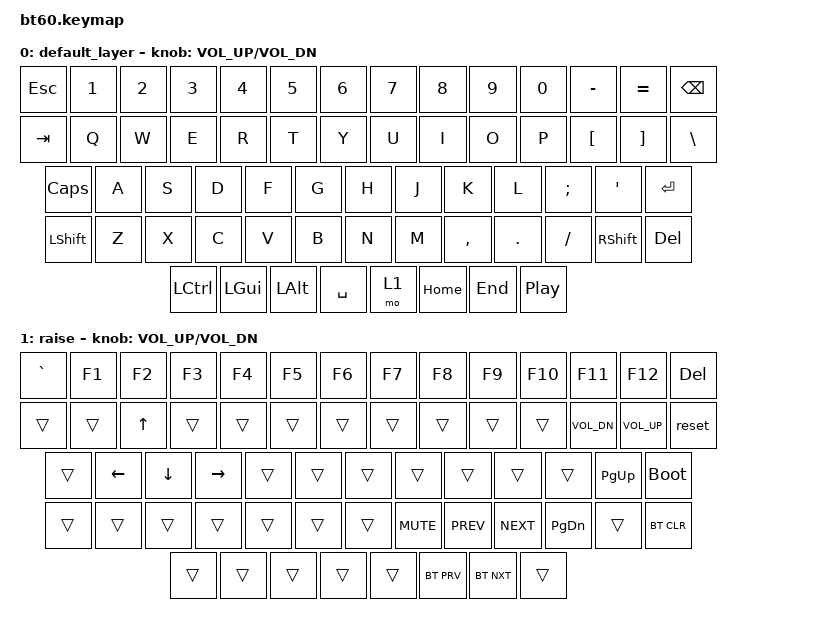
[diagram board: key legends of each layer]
#include <behaviors.dtsi>
#include <dt-bindings/zmk/keys.h>
#include <dt-bindings/zmk/bt.h>

/ {
	keymap {
		compatible = "zmk,keymap";

		default_layer {
				// ------------------------------------------------------------------------------------------
				// | ESC |  1  |  2  |  3  |  4  |  5  |  6  |  7  |  8  |  9  |  0  |  -  |  =  |   BKSP   |
				// | TAB  |  Q  |  W  |  E  |  R  |  T  |  Y  |  U  |  I  |  O  |  P  |  [  |  ]  |   |    |
				// | CAPS  |  A  |  S  |  D  |  F  |  G  |  H  |  J  |  K  |  L  |  ;  |  '  |     ENTER    |
				// |  SHIFT    |  Z  |  X  |  C  |  V  |  B  |  N  |  M  |  ,  |  .  | /   |      SHIFT     |
				// |  CTL  |  WIN  |  ALT  |            SPACE               | ALT | 1    |  MENU    |  CTRL    |
				// ------------------------------------------------------------------------------------------
			bindings = <
				&kp ESC &kp N1 &kp N2 &kp N3 &kp N4 &kp N5 &kp N6 &kp N7 &kp  N8   &kp  N9 &kp  N0  &kp MINUS &kp EQUAL &kp BSPC
				&kp TAB  &kp Q  &kp W  &kp E  &kp R  &kp T  &kp Y  &kp U  &kp  I    &kp  O  &kp  P   &kp LBKT &kp RBKT  &kp BSLH
				&kp CLCK  &kp A  &kp S  &kp D  &kp F  &kp G  &kp H  &kp J  &kp  K    &kp  L  &kp SEMI &kp SQT           &kp RET
				&kp LSHFT  &kp Z  &kp X  &kp C  &kp V  &kp B  &kp N  &kp M  &kp COMMA &kp DOT &kp FSLH      &kp RSHFT      &kp DEL
				&kp LCTRL &kp LGUI &kp LALT            &kp SPACE                          &mo 1  &kp HOME &kp END &kp C_PLAY_PAUSE
			>;
			sensor-bindings = <&inc_dec_kp C_VOL_UP C_VOL_DN>;
		};
		raise {
			bindings = <
				&kp GRAVE &kp F1 &kp F2 &kp F3 &kp F4 &kp F5 &kp F6 &kp F7 &kp  F8   &kp  F9 &kp  F10  &kp F11 &kp F12   &kp DEL
				&trans &trans        &kp UP &trans &trans &trans &trans &trans &trans &trans &trans &kp C_VOL_DN       &kp C_VOL_UP				&reset
				&trans    &kp LEFT &kp DOWN &kp RIGHT &trans &trans &trans &trans &trans &trans &trans      &kp PG_UP   &bootloader
				&trans &trans &trans &trans &trans &trans &trans &kp C_MUTE &kp C_PREV &kp C_NEXT &kp PG_DN  &trans &bt BT_CLR
				&trans  &trans  &trans               &trans                            &trans  &bt BT_PRV  &bt BT_NXT &trans
			>;
			sensor-bindings = <&inc_dec_kp C_VOL_UP C_VOL_DN>;
		};
	};
};
